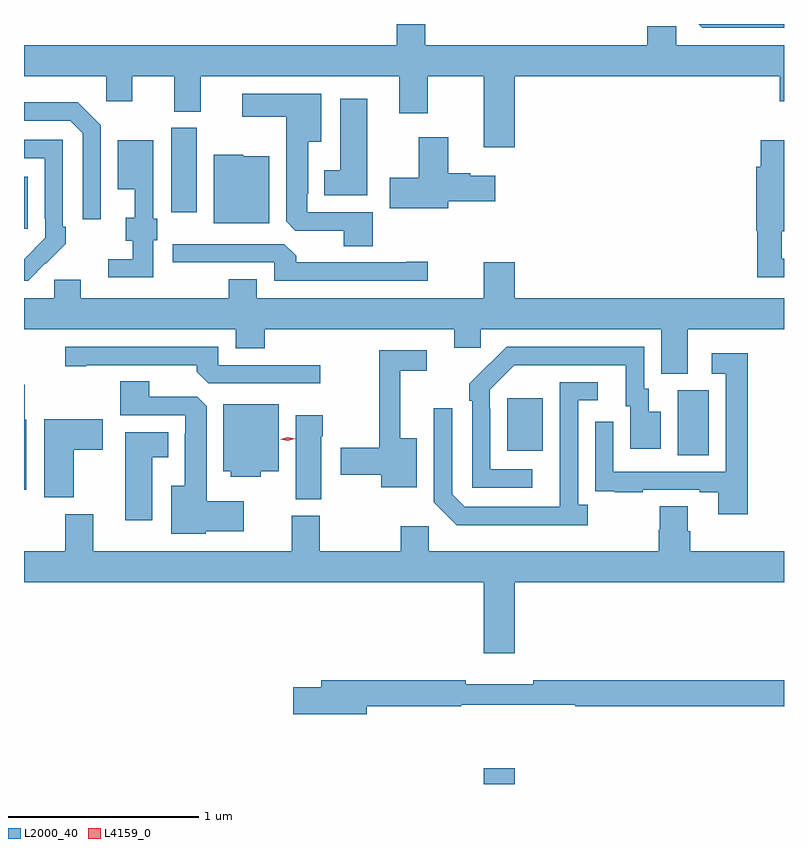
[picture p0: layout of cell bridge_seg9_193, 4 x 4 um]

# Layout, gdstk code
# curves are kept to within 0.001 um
import gdstk
lib = gdstk.Library(unit=1e-6, precision=1e-09)
def R(c, l, rs):  # rectangles x0, y0, x1, y1
    for r in rs: c.add(gdstk.rectangle(r[:2], r[2:], *l))
def P(c, l, *ps):  # polygons
    for p in ps: c.add(gdstk.Polygon(p, *l))
L2000_40 = (2000, 40)
L4159_0 = (4159, 0)

bridge_seg9_193 = lib.new_cell('bridge_seg9_193')
R(bridge_seg9_193, L2000_40, [(176.996,1184.703,177.16,1184.785), (178.016,1186.432,178.18,1186.776), (177.119,1186.457,177.307,1186.732), (174.576,1187.625,174.595,1187.899), (175.352,1187.712,175.486,1188.156)])
P(bridge_seg9_193, L2000_40, [(178.576,1188.703),(178.127,1188.703),(178.146,1188.684),(178.576,1188.684)],
  [(177.16,1188.428),(178.553,1188.428),(178.553,1188.297),(178.576,1188.297),(178.576,1188.592),(178.008,1188.592),(178.008,1188.69),(177.857,1188.69),(177.857,1188.592),(176.689,1188.592),(176.689,1188.703),(176.537,1188.703),(176.537,1188.592),(174.576,1188.592),(174.576,1188.428),(175.008,1188.428),(175.008,1188.297),(175.147,1188.297),(175.147,1188.428),(175.367,1188.428),(175.367,1188.241),(175.507,1188.241),(175.507,1188.428),(176.552,1188.428),(176.552,1188.234),(176.7,1188.234),(176.7,1188.428),(176.996,1188.428),(176.996,1188.054),(177.16,1188.054)],
  [(176.411,1187.712),(176.067,1187.712),(176.067,1187.809),(176.071,1187.809),(176.071,1188.083),(176.14,1188.083),(176.14,1188.337),(175.725,1188.337),(175.725,1188.215),(175.955,1188.215),(175.955,1187.665),(176.004,1187.616),(176.258,1187.616),(176.258,1187.533),(176.411,1187.533)],
  [(176.383,1188.31),(176.24,1188.31),(176.24,1187.932),(176.156,1187.932),(176.156,1187.801),(176.383,1187.801)],
  [(174.981,1188.171),(174.86,1188.292),(174.576,1188.292),(174.576,1188.195),(174.819,1188.195),(174.885,1188.129),(174.885,1187.676),(174.981,1187.676)],
  [(176.809,1187.771),(177.055,1187.771),(177.055,1187.905),(176.924,1187.905),(176.924,1187.918),(176.809,1187.918),(176.809,1188.106),(176.654,1188.106),(176.654,1187.895),(176.502,1187.895),(176.502,1187.732),(176.809,1187.732)],
  [(174.689,1187.443),(174.69,1187.442),(174.795,1187.547),(174.795,1187.635),(174.78,1187.635),(174.78,1188.093),(174.576,1188.093),(174.576,1187.997),(174.684,1187.997),(174.684,1187.677),(174.687,1187.677),(174.687,1187.577),(174.576,1187.466),(174.576,1187.352),(174.598,1187.352)],
  [(175.257,1187.565),(175.278,1187.565),(175.278,1187.679),(175.257,1187.679),(175.257,1188.091),(175.07,1188.091),(175.07,1187.834),(175.16,1187.834),(175.16,1187.683),(175.112,1187.683),(175.112,1187.561),(175.149,1187.561),(175.149,1187.466),(175.02,1187.466),(175.02,1187.37),(175.257,1187.37)],
  [(178.576,1187.467),(178.564,1187.467),(178.564,1187.612),(178.576,1187.612),(178.576,1188.091),(178.454,1188.091),(178.454,1187.952),(178.43,1187.952),(178.43,1187.616),(178.435,1187.616),(178.435,1187.37),(178.576,1187.37)],
  [(175.867,1188.007),(175.731,1188.007),(175.731,1188.016),(175.574,1188.016),(175.574,1187.654),(175.867,1187.654)],
  [(176.701,1187.453),(176.588,1187.453),(176.588,1187.448),(176.009,1187.448),(176.009,1187.482),(175.947,1187.544),(175.359,1187.544),(175.359,1187.448),(175.893,1187.448),(175.893,1187.352),(176.701,1187.352)],
  [(178.069,1187.096),(178.576,1187.096),(178.576,1187.26),(177.16,1187.26),(177.16,1187.449),(176.996,1187.449),(176.996,1187.26),(175.801,1187.26),(175.801,1187.359),(175.654,1187.359),(175.654,1187.26),(174.874,1187.26),(174.874,1187.358),(174.735,1187.358),(174.735,1187.26),(174.576,1187.26),(174.576,1187.096),(175.691,1187.096),(175.691,1186.997),(175.844,1186.997),(175.844,1187.096),(176.84,1187.096),(176.84,1186.998),(176.979,1186.998),(176.979,1187.096),(177.929,1187.096),(177.929,1186.861),(178.069,1186.861)],
  [(176.134,1186.908),(175.599,1186.908),(175.599,1187.004),(174.792,1187.004),(174.792,1186.903),(174.904,1186.903),(174.904,1186.908),(175.484,1186.908),(175.484,1186.874),(175.545,1186.812),(176.134,1186.812)],
  [(177.25,1186.359),(177.03,1186.359),(177.03,1186.679),(177.027,1186.679),(177.027,1186.779),(177.156,1186.908),(177.743,1186.908),(177.743,1186.692),(177.767,1186.692),(177.767,1186.467),(177.928,1186.467),(177.928,1186.663),(177.865,1186.663),(177.865,1186.782),(177.84,1186.782),(177.84,1187.004),(177.116,1187.004),(176.919,1186.809),(176.919,1186.721),(176.934,1186.721),(176.934,1186.263),(177.25,1186.263)],
  [(176.644,1186.522),(176.555,1186.522),(176.555,1186.878),(176.695,1186.878),(176.695,1186.986),(176.445,1186.986),(176.445,1186.472),(176.244,1186.472),(176.244,1186.33),(176.456,1186.33),(176.456,1186.265),(176.644,1186.265)],
  [(178.385,1186.969),(178.197,1186.969),(178.197,1186.863),(178.269,1186.863),(178.269,1186.347),(177.678,1186.347),(177.678,1186.609),(177.582,1186.609),(177.582,1186.354),(177.583,1186.354),(177.583,1186.245),(177.685,1186.245),(177.685,1186.239),(177.833,1186.239),(177.833,1186.251),(178.133,1186.251),(178.133,1186.239),(178.229,1186.239),(178.229,1186.122),(178.385,1186.122)],
  [(175.533,1186.034),(175.732,1186.034),(175.732,1186.192),(175.537,1186.192),(175.537,1186.691),(175.488,1186.74),(175.234,1186.74),(175.234,1186.823),(175.082,1186.823),(175.082,1186.644),(175.425,1186.644),(175.425,1186.547),(175.421,1186.547),(175.421,1186.273),(175.352,1186.273),(175.352,1186.019),(175.533,1186.019)],
  [(177.544,1186.174),(177.492,1186.174),(177.492,1186.722),(177.595,1186.722),(177.595,1186.818),(177.396,1186.818),(177.395,1186.161),(176.895,1186.161),(176.829,1186.227),(176.829,1186.681),(176.733,1186.681),(176.733,1186.185),(176.854,1186.064),(177.544,1186.064)],
  [(174.589,1186.62),(174.58,1186.62),(174.58,1186.804),(174.576,1186.804),(174.576,1186.251),(174.589,1186.251)],
  [(175.822,1186.349),(175.918,1186.349),(175.918,1186.702),(175.625,1186.702),(175.625,1186.349),(175.664,1186.349),(175.664,1186.319),(175.822,1186.319)],
  [(176.14,1186.532),(176.148,1186.532),(176.148,1186.645),(176.006,1186.645),(176.006,1186.201),(176.14,1186.201)],
  [(174.838,1186.462),(174.991,1186.462),(174.991,1186.624),(174.683,1186.624),(174.683,1186.211),(174.838,1186.211)],
  [(175.252,1186.424),(175.336,1186.424),(175.336,1186.555),(175.109,1186.555),(175.109,1186.092),(175.252,1186.092)],
  [(174.793,1186.123),(174.793,1185.928),(174.576,1185.928),(174.576,1185.764),(176.996,1185.764),(176.996,1185.39),(177.16,1185.39),(177.16,1185.764),(178.576,1185.764),(178.576,1185.928),(178.082,1185.928),(178.082,1186.034),(178.069,1186.034),(178.069,1186.166),(177.922,1186.166),(177.922,1186.041),(177.917,1186.041),(177.917,1185.928),(176.706,1185.928),(176.706,1186.06),(176.56,1186.06),(176.56,1185.928),(176.133,1185.928),(176.133,1186.116),(175.985,1186.116),(175.985,1185.928),(174.94,1185.928),(174.94,1186.123)],
  [(176.38,1185.112),(176.876,1185.112),(176.876,1185.12),(177.476,1185.12),(177.476,1185.112),(178.576,1185.112),(178.576,1185.248),(177.256,1185.248),(177.256,1185.229),(176.9,1185.229),(176.9,1185.248),(176.141,1185.248),(176.141,1185.212),(175.992,1185.212),(175.992,1185.07),(176.38,1185.07)])
P(bridge_seg9_193, L4159_0, [(175.964,1186.509),(175.924,1186.518),(175.924,1186.518),(175.924,1186.518),(175.964,1186.529),(176.003,1186.52),(176.003,1186.52),(176.003,1186.52)])

lib.write_gds('bridge_seg9_193.gds')
